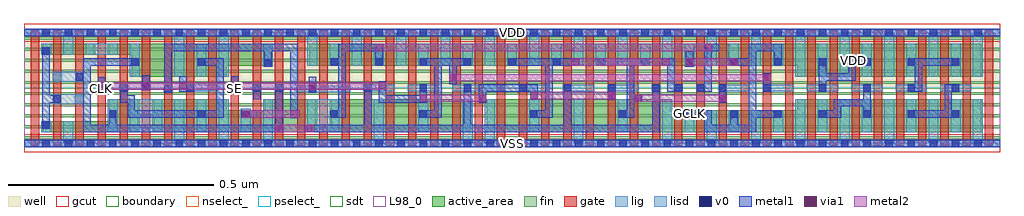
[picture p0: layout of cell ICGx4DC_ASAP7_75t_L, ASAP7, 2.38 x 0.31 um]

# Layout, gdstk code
import gdstk
lib = gdstk.Library(unit=1e-6, precision=2.5e-10)
def R(c, l, rs):  # rectangles x0, y0, x1, y1
    for r in rs: c.add(gdstk.rectangle(r[:2], r[2:], *l))
def A(c, l, x, y, w, h, nx, ny, dx, dy):  # array of equal rectangles
    R(c, l, [(x+i*dx, y+j*dy, x+i*dx+w, y+j*dy+h) for i in range(nx) for j in range(ny)])
def P(c, l, *ps):  # polygons
    for p in ps: c.add(gdstk.Polygon(p, *l))
well = (1, 0)
fin = (2, 0)
gate = (7, 0)
gcut = (10, 0)
active_area = (11, 0)
nselect_ = (12, 0)
pselect_ = (13, 0)
lig = (16, 0)
lisd = (17, 0)
v0 = (18, 0)
metal1 = (19, 0)
metal2 = (20, 0)
via1 = (21, 0)
sdt = (88, 0)
L98_0 = (98, 0)
boundary = (100, 0)

icgx4dc_asap7_75t_l = lib.new_cell('ICGx4DC_ASAP7_75t_L')
R(icgx4dc_asap7_75t_l, well, [(0,0.135,2.376,0.27)])
A(icgx4dc_asap7_75t_l, fin, 0, 0.01, 2.376, 0.007, 1, 10, 0, 0.027)
A(icgx4dc_asap7_75t_l, gate, 0.017, -0.005, 0.02, 0.28, 44, 1, 0.054, 0)
R(icgx4dc_asap7_75t_l, gcut, [(0,-0.022,2.376,0.022), (0,0.248,2.376,0.292)])
R(icgx4dc_asap7_75t_l, active_area, [(0.748,0.027,1.088,0.108), (0.046,0.216,0.17,0.243)])
P(icgx4dc_asap7_75t_l, active_area, [(0.046,0.027),(0.278,0.027),(0.278,0.108),(0.208,0.108),(0.208,0.054),(0.046,0.054)],
  [(1.882,0.081),(1.574,0.081),(1.574,0.108),(1.126,0.108),(1.126,0.027),(2.33,0.027),(2.33,0.108),(1.882,0.108)],
  [(0.586,0.081),(0.494,0.081),(0.494,0.108),(0.316,0.108),(0.316,0.027),(0.71,0.027),(0.71,0.108),(0.586,0.108)],
  [(0.602,0.243),(0.208,0.243),(0.208,0.216),(0.262,0.216),(0.262,0.162),(0.494,0.162),(0.494,0.189),(0.602,0.189)],
  [(0.694,0.189),(1.882,0.189),(1.882,0.162),(2.33,0.162),(2.33,0.243),(0.694,0.243)])
R(icgx4dc_asap7_75t_l, nselect_, [(0,0,2.376,0.135)])
R(icgx4dc_asap7_75t_l, pselect_, [(0,0.135,2.376,0.27)])
A(icgx4dc_asap7_75t_l, lig, 0.502, 0.127, 0.022, 0.016, 3, 1, 0.054, 0)
A(icgx4dc_asap7_75t_l, lig, 1.204, 0.127, 0.076, 0.016, 3, 1, 0.108, 0)
A(icgx4dc_asap7_75t_l, lig, 1.528, 0.127, 0.022, 0.016, 3, 1, 0.054, 0)
A(icgx4dc_asap7_75t_l, lig, 1.69, 0.127, 0.076, 0.016, 6, 1, 0.108, 0)
R(icgx4dc_asap7_75t_l, lig, [(0,-0.008,2.376,0.008), (0.124,0.1,0.146,0.116), (0.178,0.125,0.2,0.141), (0.34,0.125,0.362,0.141), (0.664,0.125,0.794,0.141), (0.232,0.127,0.254,0.143), (0.394,0.127,0.47,0.143), (0.826,0.127,0.902,0.143), (0.934,0.127,1.01,0.143), (1.042,0.127,1.172,0.143), (0.286,0.13,0.308,0.146), (0.07,0.154,0.092,0.17), (0,0.262,2.376,0.278)])
A(icgx4dc_asap7_75t_l, lisd, 0.366, 0, 0.024, 0.108, 3, 1, 0.108, 0)
A(icgx4dc_asap7_75t_l, lisd, 1.122, 0, 0.024, 0.108, 3, 1, 0.216, 0)
A(icgx4dc_asap7_75t_l, lisd, 1.878, 0, 0.024, 0.108, 5, 2, 0.108, 0.162)
A(icgx4dc_asap7_75t_l, lisd, 1.608, 0.027, 0.024, 0.054, 3, 1, 0.108, 0)
A(icgx4dc_asap7_75t_l, lisd, 1.932, 0.027, 0.024, 0.081, 4, 2, 0.108, 0.135)
A(icgx4dc_asap7_75t_l, lisd, 0.69, 0.189, 0.024, 0.081, 11, 1, 0.108, 0)
A(icgx4dc_asap7_75t_l, lisd, 0.744, 0.189, 0.024, 0.054, 8, 1, 0.108, 0)
R(icgx4dc_asap7_75t_l, lisd, [(0.096,0,0.12,0.054), (0.852,0,0.876,0.108), (1.068,0,1.092,0.108), (1.662,0,1.686,0.081), (1.77,0,1.794,0.081), (0.042,0.027,0.066,0.054), (0.204,0.027,0.228,0.108), (0.258,0.027,0.336,0.108), (0.42,0.027,0.444,0.108), (0.528,0.027,0.552,0.084), (0.69,0.027,0.768,0.108), (0.96,0.027,0.984,0.108), (1.23,0.027,1.254,0.108), (1.446,0.027,1.47,0.108), (0.07,0.096,0.146,0.12), (0.07,0.15,0.146,0.174), (0.258,0.162,0.282,0.243), (0.366,0.162,0.39,0.27), (0.42,0.162,0.444,0.243), (0.474,0.162,0.498,0.27), (0.582,0.187,0.606,0.243), (1.608,0.187,1.632,0.243), (1.713,0.189,1.74,0.243), (1.824,0.189,1.848,0.243), (0.042,0.216,0.066,0.243), (0.096,0.216,0.12,0.27), (0.15,0.216,0.228,0.243)])
A(icgx4dc_asap7_75t_l, v0, 0.045, -0.009, 0.018, 0.018, 43, 2, 0.054, 0.27)
A(icgx4dc_asap7_75t_l, v0, 1.611, 0.063, 0.018, 0.018, 7, 1, 0.108, 0)
A(icgx4dc_asap7_75t_l, v0, 0.504, 0.126, 0.018, 0.018, 3, 1, 0.054, 0)
A(icgx4dc_asap7_75t_l, v0, 1.206, 0.126, 0.018, 0.018, 4, 1, 0.108, 0)
A(icgx4dc_asap7_75t_l, v0, 1.584, 0.126, 0.018, 0.018, 3, 1, 0.054, 0)
A(icgx4dc_asap7_75t_l, v0, 1.935, 0.126, 0.018, 0.018, 4, 1, 0.108, 0)
A(icgx4dc_asap7_75t_l, v0, 0.747, 0.189, 0.018, 0.018, 8, 1, 0.108, 0)
A(icgx4dc_asap7_75t_l, v0, 1.827, 0.189, 0.018, 0.018, 5, 1, 0.108, 0)
R(icgx4dc_asap7_75t_l, v0, [(0.045,0.036,0.063,0.054), (0.207,0.063,0.225,0.081), (0.423,0.063,0.441,0.081), (0.529,0.063,0.547,0.081), (0.746,0.063,0.764,0.081), (0.962,0.063,0.98,0.081), (1.232,0.063,1.25,0.081), (1.448,0.063,1.466,0.081), (0.072,0.099,0.09,0.117), (0.18,0.124,0.198,0.142), (0.342,0.124,0.36,0.142), (0.693,0.124,0.711,0.142), (0.234,0.126,0.252,0.144), (0.396,0.126,0.414,0.144), (0.828,0.126,0.846,0.144), (0.963,0.126,0.981,0.144), (1.071,0.126,1.089,0.144), (1.8,0.126,1.818,0.144), (0.288,0.129,0.306,0.147), (0.126,0.153,0.144,0.171), (0.585,0.187,0.603,0.205), (1.611,0.187,1.629,0.205), (0.261,0.189,0.279,0.207), (0.423,0.189,0.441,0.207), (1.717,0.189,1.735,0.207), (0.045,0.216,0.063,0.234)])
R(icgx4dc_asap7_75t_l, metal1, [(0,-0.009,2.376,0.009), (0.529,0.063,0.567,0.081), (1.692,0.099,1.71,0.144), (1.485,0.101,1.505,0.119), (1.422,0.106,1.44,0.144), (0.558,0.108,0.576,0.144), (0.18,0.124,0.198,0.161), (0.693,0.124,0.711,0.162), (0.504,0.126,0.522,0.163), (1.8,0.126,1.818,0.171), (0.288,0.129,0.306,0.166), (1.611,0.187,1.629,0.224), (0,0.261,2.376,0.279)])
P(icgx4dc_asap7_75t_l, metal1, [(0.632,0.045),(0.63,0.045),(0.63,0.144),(0.612,0.144),(0.612,0.045),(0.225,0.045),(0.225,0.081),(0.207,0.081),(0.207,0.045),(0.162,0.045),(0.162,0.189),(0.279,0.189),(0.279,0.207),(0.144,0.207),(0.144,0.171),(0.126,0.171),(0.126,0.153),(0.144,0.153),(0.144,0.027),(0.632,0.027)],
  [(0.875,0.243),(0.765,0.243),(0.765,0.207),(0.747,0.207),(0.747,0.189),(0.765,0.189),(0.765,0.081),(0.746,0.081),(0.746,0.063),(0.783,0.063),(0.783,0.225),(0.855,0.225),(0.855,0.189),(0.873,0.189),(0.873,0.225),(0.875,0.225)],
  [(1.548,0.144),(1.53,0.144),(1.53,0.045),(1.332,0.045),(1.332,0.144),(1.314,0.144),(1.314,0.045),(1.089,0.045),(1.089,0.144),(1.071,0.144),(1.071,0.045),(0.846,0.045),(0.846,0.144),(0.828,0.144),(0.828,0.045),(0.682,0.045),(0.682,0.027),(1.548,0.027)],
  [(1.989,0.09),(2.043,0.09),(2.043,0.063),(2.061,0.063),(2.061,0.144),(2.043,0.144),(2.043,0.108),(1.971,0.108),(1.971,0.081),(1.935,0.081),(1.935,0.063),(1.989,0.063)],
  [(1.125,0.126),(1.233,0.126),(1.233,0.106),(1.251,0.106),(1.251,0.144),(1.107,0.144),(1.107,0.099),(1.125,0.099)],
  [(2.277,0.081),(2.259,0.081),(2.259,0.126),(2.277,0.126),(2.277,0.144),(2.241,0.144),(2.241,0.081),(2.151,0.081),(2.151,0.063),(2.277,0.063)],
  [(0.666,0.243),(0.342,0.243),(0.342,0.124),(0.36,0.124),(0.36,0.225),(0.585,0.225),(0.585,0.187),(0.603,0.187),(0.603,0.225),(0.648,0.225),(0.648,0.061),(0.666,0.061)],
  [(1.017,0.189),(1.035,0.189),(1.035,0.144),(1.053,0.144),(1.053,0.189),(1.089,0.189),(1.089,0.207),(0.963,0.207),(0.963,0.189),(0.999,0.189),(0.999,0.081),(0.962,0.081),(0.962,0.063),(1.017,0.063)],
  [(1.485,0.189),(1.521,0.189),(1.521,0.207),(1.395,0.207),(1.395,0.189),(1.467,0.189),(1.467,0.081),(1.448,0.081),(1.448,0.063),(1.485,0.063)],
  [(0.486,0.207),(0.423,0.207),(0.423,0.189),(0.468,0.189),(0.468,0.081),(0.27,0.081),(0.27,0.117),(0.252,0.117),(0.252,0.144),(0.234,0.144),(0.234,0.099),(0.252,0.099),(0.252,0.063),(0.486,0.063)],
  [(0.981,0.144),(0.963,0.144),(0.963,0.117),(0.882,0.117),(0.882,0.151),(0.864,0.151),(0.864,0.099),(0.981,0.099)],
  [(1.287,0.189),(1.352,0.189),(1.352,0.207),(1.179,0.207),(1.179,0.189),(1.269,0.189),(1.269,0.081),(1.232,0.081),(1.232,0.063),(1.287,0.063)],
  [(1.953,0.153),(2.025,0.153),(2.025,0.189),(2.061,0.189),(2.061,0.207),(2.007,0.207),(2.007,0.171),(1.953,0.171),(1.953,0.207),(1.935,0.207),(1.935,0.126),(1.953,0.126)],
  [(1.602,0.144),(1.584,0.144),(1.584,0.207),(1.552,0.207),(1.552,0.189),(1.566,0.189),(1.566,0.126),(1.602,0.126)],
  [(2.277,0.207),(2.151,0.207),(2.151,0.189),(2.169,0.189),(2.169,0.144),(2.151,0.144),(2.151,0.126),(2.187,0.126),(2.187,0.189),(2.277,0.189)],
  [(0.063,0.099),(0.09,0.099),(0.09,0.117),(0.063,0.117),(0.063,0.234),(0.045,0.234),(0.045,0.036),(0.063,0.036)],
  [(0.414,0.144),(0.396,0.144),(0.396,0.164),(0.378,0.164),(0.378,0.126),(0.414,0.126)],
  [(1.782,0.063),(1.845,0.063),(1.845,0.081),(1.782,0.081),(1.782,0.225),(1.827,0.225),(1.827,0.189),(1.845,0.189),(1.845,0.243),(1.764,0.243),(1.764,0.207),(1.717,0.207),(1.717,0.189),(1.764,0.189),(1.764,0.045),(1.737,0.045),(1.737,0.081),(1.719,0.081),(1.719,0.045),(1.674,0.045),(1.674,0.081),(1.611,0.081),(1.611,0.063),(1.656,0.063),(1.656,0.027),(1.782,0.027)],
  [(1.693,0.243),(1.656,0.243),(1.656,0.144),(1.638,0.144),(1.638,0.126),(1.674,0.126),(1.674,0.225),(1.693,0.225)])
R(icgx4dc_asap7_75t_l, metal2, [(0.612,0.027,0.707,0.045), (0.531,0.063,0.671,0.081), (0.963,0.101,1.125,0.119), (1.485,0.101,1.71,0.119), (1.233,0.108,1.44,0.126), (0.18,0.131,0.882,0.149), (1.035,0.151,1.818,0.169), (1.332,0.189,1.572,0.207), (1.611,0.189,1.737,0.207), (0.855,0.225,1.676,0.243)])
R(icgx4dc_asap7_75t_l, via1, [(0.612,0.027,0.63,0.045), (0.684,0.027,0.702,0.045), (0.531,0.063,0.549,0.081), (0.648,0.063,0.666,0.081), (0.963,0.101,0.981,0.119), (1.107,0.101,1.125,0.119), (1.485,0.101,1.503,0.119), (1.692,0.101,1.71,0.119), (1.233,0.108,1.251,0.126), (1.422,0.108,1.44,0.126), (0.18,0.131,0.198,0.149), (0.288,0.131,0.306,0.149), (0.378,0.131,0.396,0.149), (0.693,0.131,0.711,0.149), (0.864,0.131,0.882,0.149), (1.035,0.151,1.053,0.169), (1.8,0.151,1.818,0.169), (1.332,0.189,1.35,0.207), (1.554,0.189,1.572,0.207), (1.611,0.189,1.629,0.207), (1.719,0.189,1.737,0.207), (0.855,0.225,0.873,0.243), (1.658,0.225,1.676,0.243)])
A(icgx4dc_asap7_75t_l, sdt, 0.204, 0.027, 0.024, 0.081, 6, 1, 0.054, 0)
A(icgx4dc_asap7_75t_l, sdt, 0.744, 0.027, 0.024, 0.081, 4, 1, 0.108, 0)
A(icgx4dc_asap7_75t_l, sdt, 1.122, 0.027, 0.024, 0.081, 5, 1, 0.108, 0)
A(icgx4dc_asap7_75t_l, sdt, 1.608, 0.027, 0.024, 0.054, 5, 1, 0.054, 0)
A(icgx4dc_asap7_75t_l, sdt, 1.878, 0.027, 0.024, 0.081, 9, 2, 0.054, 0.135)
A(icgx4dc_asap7_75t_l, sdt, 0.366, 0.162, 0.024, 0.081, 3, 1, 0.054, 0)
A(icgx4dc_asap7_75t_l, sdt, 0.69, 0.189, 0.024, 0.054, 22, 1, 0.054, 0)
A(icgx4dc_asap7_75t_l, sdt, 0.042, 0.216, 0.024, 0.027, 4, 1, 0.054, 0)
R(icgx4dc_asap7_75t_l, sdt, [(0.042,0.027,0.066,0.054), (0.096,0.027,0.12,0.054), (0.528,0.027,0.552,0.081), (0.582,0.027,0.606,0.108), (0.69,0.027,0.714,0.108), (0.258,0.162,0.282,0.243), (0.582,0.189,0.606,0.243)])
R(icgx4dc_asap7_75t_l, L98_0, [(0,0,2.376,0.27)])
R(icgx4dc_asap7_75t_l, boundary, [(0,0,2.376,0.27)])
icgx4dc_asap7_75t_l.add(gdstk.Label('SE', (0.513,0.135), layer=19, texttype=251))
icgx4dc_asap7_75t_l.add(gdstk.Label('GCLK', (1.62,0.072), layer=19, texttype=251))
icgx4dc_asap7_75t_l.add(gdstk.Label('ENA', (0.567,0.117), layer=19, texttype=251))
icgx4dc_asap7_75t_l.add(gdstk.Label('CLK', (0.189,0.135), layer=19, texttype=251))
icgx4dc_asap7_75t_l.add(gdstk.Label('VSS', (1.188,0), layer=19, texttype=251))
icgx4dc_asap7_75t_l.add(gdstk.Label('VDD', (1.188,0.27), layer=19, texttype=251))
icgx4dc_asap7_75t_l.add(gdstk.Label('VDD', (2.0195,0.2025), layer=1, texttype=251))
icgx4dc_asap7_75t_l.add(gdstk.Label('VSS', (2.7325,0.2025), layer=3, texttype=251))

lib.write_gds('ICGx4DC_ASAP7_75t_L.gds')
